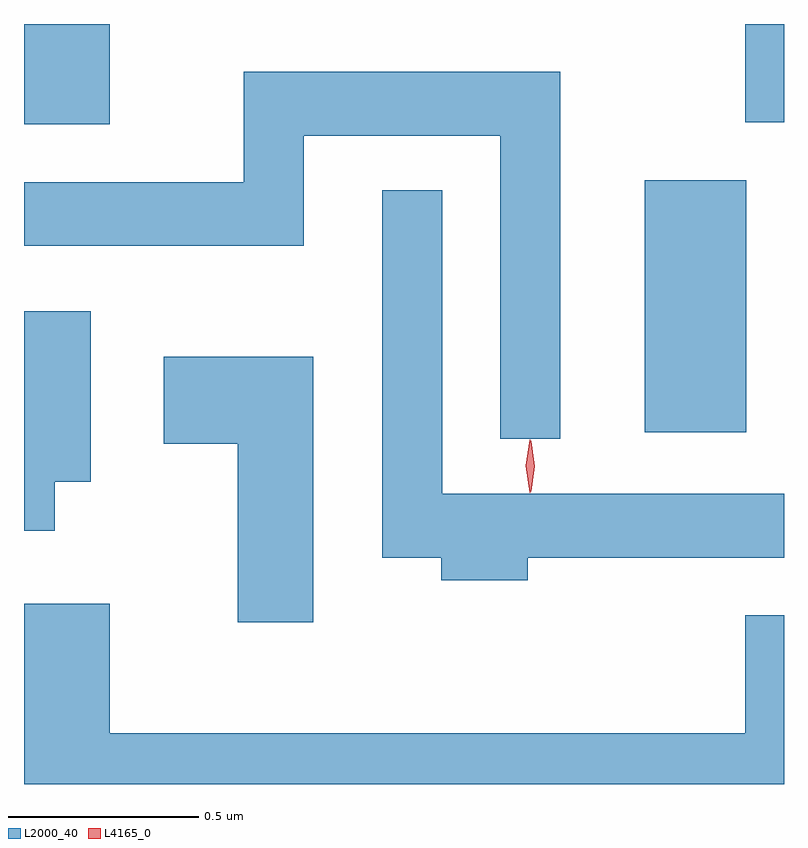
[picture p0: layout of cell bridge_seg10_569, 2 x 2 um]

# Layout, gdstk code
import gdstk
lib = gdstk.Library(unit=1e-6, precision=1e-09)
def R(c, l, rs):  # rectangles x0, y0, x1, y1
    for r in rs: c.add(gdstk.rectangle(r[:2], r[2:], *l))
def P(c, l, *ps):  # polygons
    for p in ps: c.add(gdstk.Polygon(p, *l))
L2000_40 = (2000, 40)
L4165_0 = (4165, 0)

bridge_seg10_569 = lib.new_cell('bridge_seg10_569')
R(bridge_seg10_569, L2000_40, [(783.576,2183.796,783.844,2184.459), (781.943,2184.606,782.169,2184.87), (783.841,2184.611,783.943,2184.87)])
P(bridge_seg10_569, L2000_40, [(783.354,2184.744),(782.521,2184.744),(782.521,2184.454),(781.943,2184.454),(781.943,2184.286),(782.679,2184.286),(782.679,2184.576),(783.196,2184.576),(783.196,2183.778),(783.354,2183.778)],
  [(783.269,2183.466),(783.943,2183.466),(783.943,2183.634),(783.044,2183.634),(783.044,2184.433),(782.886,2184.433),(782.886,2183.466),(783.041,2183.466),(783.041,2183.406),(783.269,2183.406)],
  [(782.024,2183.666),(782.119,2183.666),(782.119,2184.114),(781.943,2184.114),(781.943,2183.536),(782.024,2183.536)],
  [(782.704,2183.994),(782.311,2183.994),(782.311,2183.766),(782.506,2183.766),(782.506,2183.296),(782.704,2183.296)],
  [(783.943,2183.314),(783.841,2183.314),(783.841,2183.004),(782.169,2183.004),(782.169,2183.344),(781.943,2183.344),(781.943,2182.87),(783.943,2182.87)])
P(bridge_seg10_569, L4165_0, [(783.274,2183.637),(783.274,2183.637),(783.264,2183.707),(783.274,2183.776),(783.274,2183.776),(783.275,2183.776),(783.284,2183.707),(783.275,2183.637)],
  [(783.277,2183.64),(783.268,2183.706),(783.277,2183.772),(783.278,2183.773),(783.278,2183.772),(783.287,2183.706),(783.278,2183.64),(783.278,2183.64)])

lib.write_gds('bridge_seg10_569.gds')
